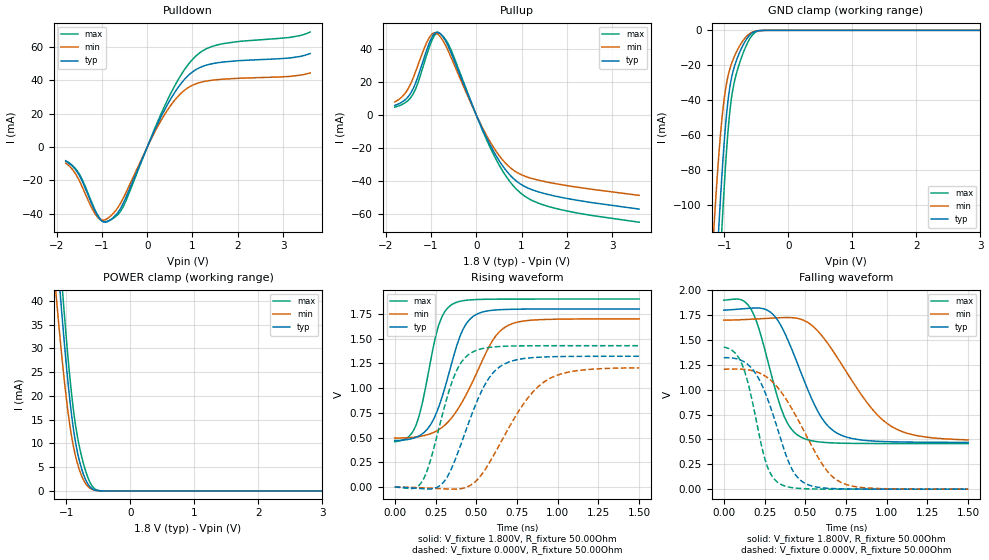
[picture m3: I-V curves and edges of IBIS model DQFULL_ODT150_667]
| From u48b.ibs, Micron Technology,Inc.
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|MODEL DQFULL_ODT150_667(Full-Drv IO Drvr with 150 ohm ODT Sub-model,667)
[Model]   DQFULL_ODT150_667
Model_type   I/O
Vinl = 700.000mV
Vinh = 1.10V
Vmeas = 900.000mV
Vref = 900.000mV
Cref = 0.0pF
Rref = 25.000Ohm
|   typ   min   max
C_comp   3.09pF   2.91pF   3.33pF
| Note: C_comp decreases when the ODT circuit is enabled.
[Model Spec]
| Input threshold voltage corners
Vinl   0.70V   0.650V   0.750V
Vinh   1.10V   1.05V   1.150V
| Measurement voltage corners
Vmeas   0.900V   0.850V   0.950V
| Timing spec test load voltage corners
Vref   0.900V   0.850V   0.950V
[Receiver Thresholds]
Vth   =  0.900V
Vth_min  =  0.882V
Vth_max  =  0.918V
Vinh_ac  =  0.200V
Vinh_dc  =  0.125V
Vinl_ac  = -0.200V
Vinl_dc  = -0.125V
Tslew_ac =  5.000ns |Not specified, so set to high value
Threshold_sensitivity = 0.50
Reference_supply Pullup_ref
[Voltage Range]   1.800V   1.700V   1.900V
[Pullup Reference]   1.800V   1.700V   1.900V
| Junction Temperature (Ambient temp is 25C typ, 85C min, 0C max)
[Temperature Range]   40.0   100.0   0.0
[Add Submodel]
| Submodel Name   Mode
150ohm_ODT_667   Non-Driving
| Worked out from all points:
|   slope of the pulldown table from 0 to 0.27 V, typ, clamps not added: 16.7 ohm
|   slope of the pullup table from 0 to 0.27 V, typ, clamps not added: 16.7 ohm
|   GND clamp passes 1 mA (typ) near -0.54 V on its own axis
|   POWER clamp passes 1 mA (typ) near -0.64 V on its own axis
|   falling waveform, V_fixture 1.800V, R_fixture 50.00Ohm: 20-80 % time 210ps typ, 309ps min, 151ps max; typ from 1.8 V to 0.471 V
|   rising waveform, V_fixture 1.800V, R_fixture 50.00Ohm: 20-80 % time 151ps typ, 227ps min, 112ps max; typ from 0.471 V to 1.8 V
|   rising waveform, V_fixture 0.000V, R_fixture 50.00Ohm: 20-80 % time 193ps typ, 271ps min, 148ps max; typ from 0 V to 1.32 V
|   falling waveform, V_fixture 0.000V, R_fixture 50.00Ohm: 20-80 % time 169ps typ, 250ps min, 120ps max; typ from 1.32 V to 0 V
[Pulldown]
|   Voltage   I(typ)   I(min)   I(max)
-1.8V     -8.363mA   -9.572mA   -8.156mA
-1.495V   -17.29mA   -20.45mA   -16.42mA
-1.105V   -40.79mA   -41.76mA   -40.2mA
-965mV    -44.92mA   -43.79mA   -44.47mA
-805mV    -43.51mA   -41.21mA   -43.55mA
-615mV    -37.88mA   -34.84mA   -39.34mA
-495mV    -31.63mA   -28.71mA   -33.69mA
405mV     23.34mA    20.39mA    25.79mA
715mV     36.95mA    31.38mA    41.8mA
1.05V     45.97mA    37.64mA    53.91mA
1.595V    50.67mA    40.51mA    61.5mA
3.6V      56.03mA    44.44mA    68.9mA
[GND Clamp]
|   Voltage   I(typ)   I(min)   I(max)
-1.8V     -687.2mA   -584.8mA   -771.8mA
-1.165V   -166.7mA   -114.1mA   -209.1mA
-1.155V   -159.5mA   -108.2mA   -201mA
-1.085V   -111.5mA   -70.53mA   -146.6mA
-1.035V   -81.06mA   -49.46mA   -110.9mA
-995mV    -60.38mA   -37mA      -85.21mA
-955mV    -44.09mA   -28.25mA   -63.35mA
-885mV    -26.7mA    -18.76mA   -37.76mA
-775mV    -13.77mA   -9.782mA   -20.18mA
-595mV    -2.415mA   -1.638mA   -4.342mA
-385mV    -23.94uA   -28.43uA   -37uA
3.6V      0A         0A         0A
[Pullup]
|   Voltage   I(typ)   I(min)   I(max)
-1.8V     5.745mA    7.828mA    4.687mA
-1.575V   9.095mA    12.97mA    7.304mA
-1.405V   15.25mA    21.62mA    12.2mA
-1.035V   43.6mA     46.89mA    41.16mA
-905mV    49.73mA    49.67mA    48.65mA
-805mV    49.43mA    47.68mA    49.25mA
-565mV    38.14mA    35.37mA    39.89mA
295mV     -17.52mA   -15.7mA    -19.01mA
615mV     -32.01mA   -28.21mA   -35.27mA
955mV     -41.39mA   -35.62mA   -46.64mA
1.77V     -49.25mA   -41.65mA   -56.65mA
3.6V      -56.95mA   -48.65mA   -64.87mA
[POWER Clamp]
|   Voltage   I(typ)   I(min)   I(max)
-1.8V     174.9mA    152.3mA    190.3mA
-1.155V   51.71mA    40.6mA     59.45mA
-1.095V   41.43mA    31.75mA    48.39mA
-1.055V   34.89mA    26.27mA    41.31mA
-995mV    25.79mA    18.92mA    31.35mA
-945mV    19.13mA    13.82mA    23.95mA
-855mV    10.15mA    7.261mA    13.76mA
-745mV    3.985mA    2.685mA    6.389mA
-615mV    638.8uA    433.7uA    1.406mA
-545mV    143uA      118uA      332.4uA
-405mV    3.671uA    5.809uA    5.835uA
3.6V      0A         0A         0A
[Ramp]
R_load = 50.00Ohm
|   typ   min   max
dV/dt_r   793.252mV/193.456ps 723.360mV/270.875ps 857.293mV/148.427ps
dV/dt_f   797.557mV/209.553ps 722.539mV/308.495ps 864.834mV/151.097ps
[Falling Waveform]
V_fixture = 1.800V
V_fixture_min = 1.700V
V_fixture_max = 1.900V
R_fixture = 50.00Ohm
|   Time   V(typ)   V(min)   V(max)
0s        1.8V       1.7V       1.9V
170ps     1.821V     1.709V     1.802V
320ps     1.725V     1.722V     980.3mV
390ps     1.512V     1.726V     666mV
470ps     1.189V     1.71V      526.6mV
600ps     718.7mV    1.547V     472.7mV
720ps     543.2mV    1.263V     462.6mV
900ps     486.1mV    826.8mV    459.3mV
1.04ns    476.2mV    620.9mV    458.8mV
1.5ns     470.7mV    495.8mV    458.6mV
[Rising Waveform]
V_fixture = 1.800V
V_fixture_min = 1.700V
V_fixture_max = 1.900V
R_fixture = 50.00Ohm
|   Time   V(typ)   V(min)   V(max)
0s        470.7mV    495.8mV    458.6mV
130ps     502.8mV    505.7mV    623.6mV
200ps     585.2mV    529.1mV    1.101V
270ps     811.7mV    580.3mV    1.638V
350ps     1.255V     702.1mV    1.845V
400ps     1.523V     821.7mV    1.877V
460ps     1.695V     1.004V     1.891V
600ps     1.787V     1.48V      1.899V
700ps     1.796V     1.637V     1.9V
1.5ns     1.8V       1.7V       1.9V
[Rising Waveform]
V_fixture = 0.000V
V_fixture_min = 0.000V
V_fixture_max = 0.000V
R_fixture = 50.00Ohm
|   Time   V(typ)   V(min)   V(max)
0s        -1.438uV   -1.395uV   -1.612uV
170ps     -17mV      -7.633mV   61.6mV
320ps     95.92mV    -19.63mV   899.2mV
390ps     360.3mV    -19.24mV   1.212V
470ps     722.5mV    23.69mV    1.358V
560ps     1.055V     191mV      1.406V
640ps     1.211V     419.6mV    1.42V
800ps     1.3V       863.7mV    1.427V
920ps     1.315V     1.067V     1.428V
1.5ns     1.322V     1.206V     1.429V
[Falling Waveform]
V_fixture = 0.000V
V_fixture_min = 0.000V
V_fixture_max = 0.000V
R_fixture = 50.00Ohm
|   Time   V(typ)   V(min)   V(max)
0s        1.322V     1.206V     1.429V
110ps     1.293V     1.207V     1.263V
200ps     1.153V     1.18V      686.2mV
270ps     902mV      1.119V     215mV
350ps     501.8mV    981.9mV    49.1mV
420ps     195.4mV    802.9mV    15.21mV
480ps     77.49mV    622.3mV    5.975mV
620ps     11.03mV    212.8mV    886.7uV
720ps     3.517mV    67.52mV    283.5uV
1.5ns     -1.438uV   -1.395uV   -1.612uV
